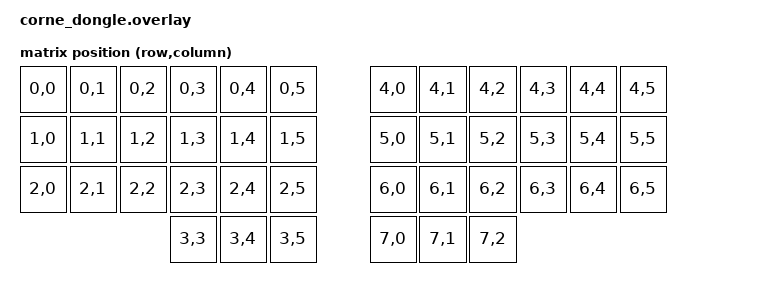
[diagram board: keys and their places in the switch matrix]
#include <dt-bindings/zmk/matrix_transform.h>

/ {
    chosen {
        zmk,kscan = &mock_kscan;
        zmk,matrix-transform = &default;
    };

    mock_kscan: mock_kscan_0 {
        compatible = "zmk,kscan-mock";
        columns = <0>;
        rows = <0>;
        events = <0>;
    };

    default: keymap_transform_0 {
        compatible = "zmk,matrix-transform";
        columns = <6>;
        rows = <8>;
        // In dongle setup: Left peripheral uses rows 0-3, Right peripheral uses rows 4-7
        // Each peripheral has 6 columns (0-5)
        map = <
        RC(0,0) RC(0,1) RC(0,2) RC(0,3) RC(0,4) RC(0,5)  RC(4,0) RC(4,1) RC(4,2) RC(4,3) RC(4,4) RC(4,5)
        RC(1,0) RC(1,1) RC(1,2) RC(1,3) RC(1,4) RC(1,5)  RC(5,0) RC(5,1) RC(5,2) RC(5,3) RC(5,4) RC(5,5)
        RC(2,0) RC(2,1) RC(2,2) RC(2,3) RC(2,4) RC(2,5)  RC(6,0) RC(6,1) RC(6,2) RC(6,3) RC(6,4) RC(6,5)
                                RC(3,3) RC(3,4) RC(3,5)  RC(7,0) RC(7,1) RC(7,2)
        >;
    };
};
